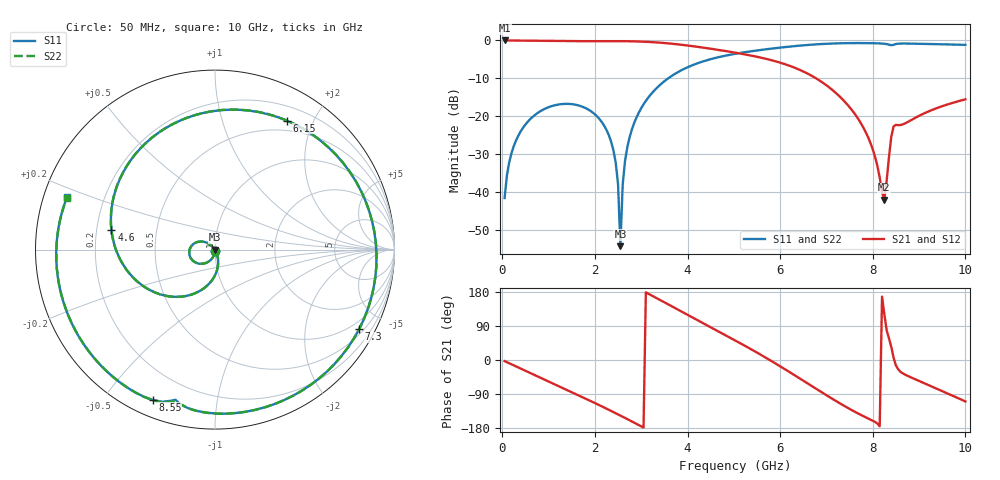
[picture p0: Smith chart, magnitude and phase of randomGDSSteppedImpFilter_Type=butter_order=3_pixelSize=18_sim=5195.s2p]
! freq	dB(S11)	phase(S11)	dB(S12)	phase(S12)
!  dB(S21)	phase(S21)	dB(S22)	phase(S22)
!S-par simulation data
#  GHz  S  DB  R 50
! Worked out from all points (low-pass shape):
!   200 points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, 50 MHz to 10 GHz, reference 50 ohm
!   highest |S21| = 0.00 dB at 50 MHz (marker M1); lowest = -42.1 dB at 8.25 GHz (marker M2)
!   |S21| within 3 dB of the highest: start of sweep to 4.922 GHz
!   lowest |S11| = -54.4 dB at 2.55 GHz (marker M3), VSWR 1.00, Z = 49.8 - j0.111 ohm
!   |S11| at or under -10 dB: start of sweep to 3.584 GHz
!   |S22| runs from -54.0 to -0.7 dB; largest |S21 - S12| = 0
!   S11 on the Smith chart (normalised r, x): 50 MHz: 1.00, -0.02; 4.6 GHz: 0.26, +0.09; 6.15 GHz: 0.37, +1.64; 7.3 GHz: 0.67, -3.76; 8.55 GHz: 0.07, -0.67; 10 GHz: 0.07, +0.17
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0.05  -41.65 -92.2  -0.00 -2.9  -0.00 -2.9  -41.65 -92.2
0.2  -29.74 -101.2  -0.02 -11.5  -0.02 -11.5  -29.74 -101.1
0.55  -21.49 -121.7  -0.07 -31.3  -0.07 -31.3  -21.49 -121.7
1.75  -17.62 170.4  -0.19 -99.1  -0.19 -99.1  -17.62 170.4
2.4  -29.06 133.8  -0.17 -137.4  -0.17 -137.4  -29.06 134.0
2.5  -38.08 132.2  -0.18 -143.5  -0.18 -143.5  -38.08 132.7
2.55  -54.39 -144.2  -0.18 -146.6  -0.18 -146.6  -53.98 -144.1
2.6  -38.08 -68.2  -0.19 -149.7  -0.19 -149.7  -38.06 -68.6
2.75  -25.55 -71.9  -0.21 -159.1  -0.21 -159.1  -25.54 -71.9
3.4  -11.81 -112.4  -0.58 158.9  -0.58 158.9  -11.81 -112.3
4  -7.10 -151.5  -1.33 119.4  -1.33 119.4  -7.10 -151.4
4.6  -4.63 169.4  -2.37 80.1  -2.37 80.1  -4.63 169.6
5.05  -3.49 139.6  -3.27 50.3  -3.27 50.3  -3.49 139.9
6.15  -1.70 60.9  -6.47 -27.8  -6.47 -27.8  -1.70 61.3
6.7  -1.10 17.9  -9.48 -70.0  -9.48 -70.0  -1.10 18.4
7.3  -0.75 -29.0  -14.99 -115.2  -14.99 -115.2  -0.75 -28.5
7.9  -0.71 -72.6  -25.63 -154.3  -25.63 -154.3  -0.71 -72.1
8.25  -0.87 -96.5  -42.13 120.6  -42.13 120.6  -0.86 -95.9
8.35  -1.10 -102.8  -30.82 57.2  -30.82 57.2  -1.06 -102.3
8.55  -0.85 -112.6  -22.40 -25.0  -22.40 -25.0  -0.84 -112.4
9.25  -0.95 -155.7  -18.52 -68.4  -18.52 -68.4  -0.95 -155.5
10  -1.16 160.4  -15.56 -109.4  -15.56 -109.4  -1.16 160.7
